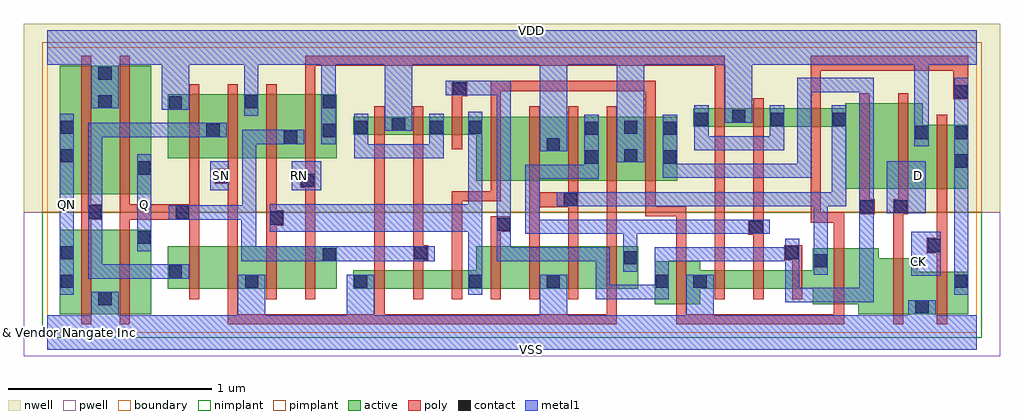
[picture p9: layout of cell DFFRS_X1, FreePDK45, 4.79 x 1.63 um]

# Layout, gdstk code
import gdstk
lib = gdstk.Library(unit=1e-6, precision=1e-10)
def R(c, l, rs):  # rectangles x0, y0, x1, y1
    for r in rs: c.add(gdstk.rectangle(r[:2], r[2:], *l))
def P(c, l, *ps):  # polygons
    for p in ps: c.add(gdstk.Polygon(p, *l))
active = (1, 0)
pwell = (2, 0)
nwell = (3, 0)
nimplant = (4, 0)
pimplant = (5, 0)
poly = (9, 0)
contact = (10, 0)
metal1 = (11, 0)
boundary = (235, 0)

dffrs_x1 = lib.new_cell('DFFRS_X1')
R(dffrs_x1, active, [(0.06,0.09,0.51,0.505), (0.59,0.215,1.42,0.425), (0.06,0.68,0.51,1.31), (0.59,0.855,1.42,1.17)])
P(dffrs_x1, active, [(1.5,0.215),(2.9,0.215),(2.9,0.425),(2.105,0.425),(2.105,0.305),(1.5,0.305)],
  [(1.5,0.97),(2.105,0.97),(2.105,0.745),(3.09,0.745),(3.09,1.06),(1.5,1.06)],
  [(2.98,0.14),(3.205,0.14),(3.205,0.215),(3.755,0.215),(3.755,0.14),(3.98,0.14),(3.98,0.09),(4.52,0.09),(4.52,0.3),(4.27,0.3),(4.27,0.365),(4.08,0.365),(4.08,0.415),(3.755,0.415),(3.755,0.305),(3.205,0.305),(3.205,0.35),(2.98,0.35)],
  [(3.17,1.01),(3.915,1.01),(3.915,0.705),(4.52,0.705),(4.52,1.02),(4.295,1.02),(4.295,1.125),(3.915,1.125),(3.915,1.1),(3.17,1.1)])
R(dffrs_x1, pwell, [(-0.115,-0.115,4.675,0.59)])
R(dffrs_x1, nwell, [(-0.115,0.59,4.675,1.515)])
R(dffrs_x1, nimplant, [(-0.025,-0.025,4.585,0.59)])
R(dffrs_x1, pimplant, [(-0.025,0.59,4.585,1.425)])
P(dffrs_x1, poly, [(0.165,0.04),(0.215,0.04),(0.215,0.555),(0.27,0.555),(0.27,0.63),(0.215,0.63),(0.215,1.36),(0.165,1.36)],
  [(0.355,0.04),(0.405,0.04),(0.405,0.555),(0.695,0.555),(0.695,0.165),(0.745,0.165),(0.745,1.22),(0.695,1.22),(0.695,0.63),(0.405,0.63),(0.405,1.36),(0.355,1.36)],
  [(1.075,0.165),(1.125,0.165),(1.125,0.525),(1.16,0.525),(1.16,0.6),(1.125,0.6),(1.125,1.22),(1.075,1.22)],
  [(1.795,0.165),(1.845,0.165),(1.845,0.355),(1.87,0.355),(1.87,0.43),(1.845,0.43),(1.845,1.11),(1.795,1.11)],
  [(1.985,0.9),(2.035,0.9),(2.035,1.16),(2.06,1.16),(2.06,1.235),(1.985,1.235)],
  [(2.175,0.165),(2.225,0.165),(2.225,0.495),(2.275,0.495),(2.275,0.57),(2.175,0.57)],
  [(2.365,0.165),(2.415,0.165),(2.415,0.615),(2.555,0.615),(2.555,0.165),(2.605,0.165),(2.605,1.11),(2.555,1.11),(2.555,0.69),(2.415,0.69),(2.415,1.11),(2.365,1.11)],
  [(0.82,0.73),(0.885,0.73),(0.885,0.04),(2.795,0.04),(2.795,1.11),(2.745,1.11),(2.745,0.09),(1.655,0.09),(1.655,1.11),(1.605,1.11),(1.605,0.09),(0.935,0.09),(0.935,1.22),(0.885,1.22),(0.885,0.805),(0.82,0.805)],
  [(1.24,0.71),(1.265,0.71),(1.265,0.165),(1.315,0.165),(1.315,1.31),(3.275,1.31),(3.275,0.165),(3.325,0.165),(3.325,1.36),(1.265,1.36),(1.265,0.785),(1.24,0.785)],
  [(3.44,0.48),(3.465,0.48),(3.465,0.165),(3.515,0.165),(3.515,1.15),(3.465,1.15),(3.465,0.555),(3.44,0.555)],
  [(3.615,0.355),(3.655,0.355),(3.655,0.165),(3.705,0.165),(3.705,0.43),(3.615,0.43)],
  [(3.985,0.58),(4.06,0.58),(4.06,0.655),(4.035,0.655),(4.035,1.175),(3.985,1.175)],
  [(4.15,0.04),(4.2,0.04),(4.2,0.58),(4.225,0.58),(4.225,1.175),(4.175,1.175),(4.175,0.655),(4.15,0.655)],
  [(4.315,0.39),(4.365,0.39),(4.365,0.04),(4.415,0.04),(4.415,1.07),(4.365,1.07),(4.365,0.465),(4.315,0.465)],
  [(3.795,1.285),(4.445,1.285),(4.445,1.145),(4.52,1.145),(4.52,1.36),(3.745,1.36),(3.745,0.54),(3.86,0.54),(3.86,0.09),(3.135,0.09),(3.135,0.62),(2.985,0.62),(2.985,1.235),(2.175,1.235),(2.175,0.695),(1.985,0.695),(1.985,0.165),(2.035,0.165),(2.035,0.645),(2.225,0.645),(2.225,1.185),(2.935,1.185),(2.935,0.57),(3.085,0.57),(3.085,0.04),(3.91,0.04),(3.91,0.59),(3.795,0.59)])
R(dffrs_x1, contact, [(4.26,0.095,4.325,0.16), (0.25,0.135,0.315,0.2), (0.065,0.22,0.13,0.285), (0.97,0.22,1.035,0.285), (1.505,0.22,1.57,0.285), (2.07,0.22,2.135,0.285), (2.45,0.22,2.515,0.285), (2.985,0.22,3.05,0.285), (3.17,0.22,3.235,0.285), (4.45,0.22,4.515,0.285), (0.595,0.265,0.66,0.33), (3.76,0.32,3.825,0.385), (2.83,0.335,2.895,0.4), (1.35,0.35,1.415,0.415), (0.065,0.36,0.13,0.425), (1.8,0.36,1.865,0.425), (3.62,0.36,3.685,0.425), (4.32,0.395,4.385,0.46), (0.44,0.435,0.505,0.5), (3.445,0.485,3.51,0.55), (2.205,0.5,2.27,0.565), (1.09,0.53,1.155,0.595), (0.2,0.56,0.265,0.625), (0.63,0.56,0.695,0.625), (3.99,0.585,4.055,0.65), (4.155,0.585,4.22,0.65), (2.535,0.62,2.6,0.685), (1.245,0.715,1.31,0.78), (0.825,0.735,0.89,0.8), (0.44,0.775,0.505,0.84), (4.45,0.81,4.515,0.875), (2.64,0.83,2.705,0.895), (3.02,0.83,3.085,0.895), (0.065,0.835,0.13,0.9), (2.83,0.835,2.895,0.9), (2.45,0.89,2.515,0.955), (1.16,0.925,1.225,0.99), (4.26,0.95,4.325,1.015), (4.45,0.95,4.515,1.015), (0.78,0.96,0.845,1.025), (1.35,0.96,1.415,1.025), (2.64,0.97,2.705,1.035), (3.02,0.97,3.085,1.035), (0.065,0.975,0.13,1.04), (1.505,0.975,1.57,1.04), (1.88,0.975,1.945,1.04), (2.07,0.975,2.135,1.04), (2.83,0.975,2.895,1.04), (1.69,0.99,1.755,1.055), (3.175,1.015,3.24,1.08), (3.55,1.015,3.615,1.08), (3.855,1.015,3.92,1.08), (3.36,1.03,3.425,1.095), (0.595,1.095,0.66,1.16), (0.25,1.1,0.315,1.165), (0.97,1.1,1.035,1.165), (1.35,1.1,1.415,1.165), (4.45,1.15,4.515,1.215), (1.99,1.165,2.055,1.23), (0.25,1.24,0.315,1.305)])
R(dffrs_x1, metal1, [(0.06,0.185,0.13,1.075), (4.45,0.185,4.52,1.25), (4.24,0.28,4.385,0.495), (0.44,0.4,0.51,0.875), (4.12,0.585,4.31,0.84), (0.8,0.7,0.89,0.84), (1.2,0.7,1.345,0.84)])
P(dffrs_x1, metal1, [(0.27,0.96),(0.88,0.96),(0.88,1.03),(0.2,1.03),(0.2,0.265),(0.695,0.265),(0.695,0.335),(0.27,0.335)],
  [(0.595,0.555),(0.95,0.555),(0.95,0.35),(1.9,0.35),(1.9,0.425),(1.025,0.425),(1.025,0.925),(1.26,0.925),(1.26,0.995),(0.955,0.995),(0.955,0.625),(0.595,0.625)],
  [(1.505,0.855),(1.945,0.855),(1.945,1.075),(1.875,1.075),(1.875,0.925),(1.575,0.925),(1.575,1.075),(1.505,1.075)],
  [(1.09,0.495),(2.065,0.495),(2.065,0.185),(2.135,0.185),(2.135,1.085),(2.065,1.085),(2.065,0.63),(1.09,0.63)],
  [(2.345,0.485),(2.825,0.485),(2.825,0.3),(2.895,0.3),(2.895,0.485),(3.545,0.485),(3.545,0.555),(2.415,0.555),(2.415,0.755),(2.705,0.755),(2.705,1.07),(2.635,1.07),(2.635,0.825),(2.345,0.825)],
  [(3.175,0.895),(3.615,0.895),(3.615,1.115),(3.545,1.115),(3.545,0.965),(3.245,0.965),(3.245,1.115),(3.175,1.115)],
  [(2.5,0.62),(3.76,0.62),(3.76,0.285),(3.83,0.285),(3.83,0.62),(3.92,0.62),(3.92,1.115),(3.85,1.115),(3.85,0.69),(2.5,0.69)],
  [(3.02,0.76),(3.75,0.76),(3.75,1.18),(3.985,1.18),(3.985,0.22),(3.69,0.22),(3.69,0.46),(3.62,0.46),(3.62,0.42),(2.98,0.42),(2.98,0.235),(2.76,0.235),(2.76,0.42),(2.275,0.42),(2.275,1.235),(1.955,1.235),(1.955,1.165),(2.205,1.165),(2.205,0.35),(2.69,0.35),(2.69,0.165),(3.05,0.165),(3.05,0.35),(3.62,0.35),(3.62,0.15),(4.055,0.15),(4.055,1.25),(3.68,1.25),(3.68,0.83),(3.09,0.83),(3.09,1.07),(3.02,1.07)],
  [(0,-0.085),(4.56,-0.085),(4.56,0.085),(4.36,0.085),(4.36,0.16),(4.225,0.16),(4.225,0.085),(3.27,0.085),(3.27,0.285),(3.135,0.285),(3.135,0.085),(2.55,0.085),(2.55,0.285),(2.415,0.285),(2.415,0.085),(1.605,0.085),(1.605,0.285),(1.47,0.285),(1.47,0.085),(1.07,0.085),(1.07,0.285),(0.935,0.285),(0.935,0.085),(0.35,0.085),(0.35,0.2),(0.215,0.2),(0.215,0.085),(0,0.085)],
  [(0,1.315),(0.215,1.315),(0.215,1.1),(0.35,1.1),(0.35,1.315),(0.56,1.315),(0.56,1.095),(0.695,1.095),(0.695,1.315),(0.965,1.315),(0.965,1.065),(1.035,1.065),(1.035,1.315),(1.345,1.315),(1.345,0.925),(1.415,0.925),(1.415,1.315),(1.655,1.315),(1.655,0.99),(1.79,0.99),(1.79,1.315),(2.415,1.315),(2.415,0.89),(2.55,0.89),(2.55,1.315),(2.795,1.315),(2.795,0.835),(2.93,0.835),(2.93,1.315),(3.325,1.315),(3.325,1.03),(3.46,1.03),(3.46,1.315),(4.255,1.315),(4.255,0.915),(4.325,0.915),(4.325,1.315),(4.56,1.315),(4.56,1.485),(0,1.485)])
R(dffrs_x1, boundary, [(0,0,4.56,1.4)])
dffrs_x1.add(gdstk.Label('CK', (4.275,0.35), layer=11, texttype=0))
dffrs_x1.add(gdstk.Label('D', (4.275,0.77), layer=11, texttype=0))
dffrs_x1.add(gdstk.Label('Q', (0.475,0.63), layer=11, texttype=0))
dffrs_x1.add(gdstk.Label('QN', (0.095,0.63), layer=11, texttype=0))
dffrs_x1.add(gdstk.Label('RN', (1.235,0.77), layer=11, texttype=0))
dffrs_x1.add(gdstk.Label('SN', (0.855,0.77), layer=11, texttype=0))
dffrs_x1.add(gdstk.Label('VDD', (2.375,1.485), layer=11, texttype=0))
dffrs_x1.add(gdstk.Label('VSS', (2.375,-0.085), layer=11, texttype=0))
dffrs_x1.add(gdstk.Label('& Vendor Nangate Inc', (0,0), layer=63, texttype=63))
dffrs_x1.add(gdstk.Label('& Product Open Cell Library', (0,0), layer=63, texttype=63))
dffrs_x1.add(gdstk.Label('& Version 2010_12', (0,0), layer=63, texttype=63))
dffrs_x1.add(gdstk.Label('& Instance DFFRS_X1', (0,0), layer=63, texttype=63))

lib.write_gds('DFFRS_X1.gds')
